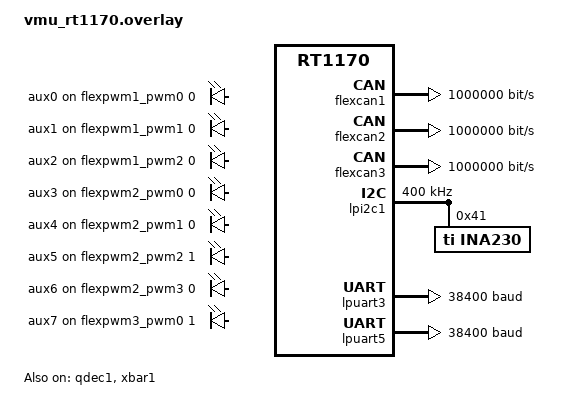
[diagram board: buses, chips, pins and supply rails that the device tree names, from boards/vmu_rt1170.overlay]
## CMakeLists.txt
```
#-------------------------------------------------------------------------------
# Zephyr Cerebri Application
#
# Copyright (c) 2023 CogniPilot Foundation
# SPDX-License-Identifier: Apache-2.0

cmake_minimum_required(VERSION 3.13.1)

find_package(Zephyr REQUIRED HINTS $ENV{ZEPHYR_BASE})

project(elm4 LANGUAGES C)

target_compile_options(app PRIVATE -Wall -Wextra -Werror)

set_source_files_properties(src/casadi/gen/elm4.c PROPERTIES COMPILE_FLAGS -Wno-unused-parameter)

set(SOURCE_FILES
  src/estimate.c
  src/fsm.c
  src/lighting.c
  src/main.c
  src/manual.c
  src/mixing.c
  src/position.c
  src/velocity.c
  src/casadi/gen/elm4.c
  )

target_sources(app PRIVATE ${SOURCE_FILES})
```

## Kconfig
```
# Copyright (c) 2023, CogniPilot Foundation
# SPDX-License-Identifier: Apache-2.0

mainmenu "CogniPilot - Cerebri - ELM4"
source "Kconfig.zephyr"


config CEREBRI_ELM4_BATTERY_MIN_MILLIVOLT
  int "min battery voltage in milli volts before shut off"
  default 32000
  help
    Minimum battery voltage in mV before auto-disarm

config CEREBRI_ELM4_BATTERY_MAX_MILLIVOLT
  int "max battery voltage in milli volts"
  default 43800
  help
    Maximum battery voltage


config CEREBRI_ELM4_GAIN_HEADING
  int "heading gain"
  default 800
  help
    Steering = Heading error * GAIN_/ 1000

config CEREBRI_ELM4_GAIN_CROSS_TRACK
  int "cross track gain"
  default 1000
  help
    Steering = Cross track error * GAIN / 1000

config CEREBRI_ELM4_GAIN_ALONG_TRACK
  int "along track gain"
  default 1000
  help
    Steering = Along track error * GAIN / 1000

config CEREBRI_ELM4_MAX_VELOCITY_MM_S
  int "max velocity, mm/s"
  default 1000
  help
    Max velocity in mm/s

config CEREBRI_ELM4_WHEEL_RADIUS_MM
  int "wheel radius, mm"
  default 108
  help
    Wheel radius in mm

config CEREBRI_ELM4_WHEEL_BASE_MM
  int "wheel base, mm"
  default 667
  help
    Wheel radius in mm

config CEREBRI_ELM4_WHEEL_SEPARATION_MM
  int "wheel separation, mm"
  default 667
  help
    Wheel separation in mm

config CEREBRI_ELM4_MAX_ANGULAR_VELOCITY_MRAD_S
  int "max turn rate, mrad/s"
  default 1000
  help
    Max turn rate mrad/s

module = CEREBRI_ELM4
module-str = cerebri_elm4
source "subsys/logging/Kconfig.template.log_config"
```

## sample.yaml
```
sample:
  description: ELM4
  name: ELM4
common:
  build_only: true
tests:
  elm4.posix:
    tags:
      - elm4
    integration_platforms:
      - native_sim
  elm4.vmu_rt1170/mimxrt1176/cm7:
    tags:
      - elm4
    integration_platforms:
      - vmu_rt1170/mimxrt1176/cm7
```

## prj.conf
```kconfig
CONFIG_CEREBRI_APP_NAME="elm4" CONFIG_CEREBRI_CORE_COMMON=y
CONFIG_CEREBRI_CORE_COMMON_BOOT_BANNER=y
CONFIG_CEREBRI_SENSE_WHEEL_ODOMETRY=n
CONFIG_CEREBRI_SENSE_BARO=y
CONFIG_CEREBRI_SENSE_IMU=y
CONFIG_CEREBRI_SENSE_MAG=y
CONFIG_CEREBRI_SYNAPSE_TOPIC=y
CONFIG_ZROS=y

CONFIG_LOG=y
CONFIG_ASSERT=n
CONFIG_CBPRINTF_FP_SUPPORT=y

CONFIG_ASSERT=n

# modules
CONFIG_SYNAPSE_PROTOBUF=y
CONFIG_SYNAPSE_TINYFRAME=y
CONFIG_NANOPB=y
CONFIG_UBXLIB=y

# Debug
CONFIG_CEREBRI_SENSE_WHEEL_ODOMETRY_LOG_LEVEL_DBG=n
CONFIG_CEREBRI_SENSE_IMU_LOG_LEVEL_DBG=n
CONFIG_CEREBRI_SENSE_SAFETY_LOG_LEVEL_DBG=n

# General config
CONFIG_POSIX_API=y
CONFIG_NEWLIB_LIBC=y
CONFIG_MAIN_THREAD_PRIORITY=5
CONFIG_SYSTEM_WORKQUEUE_PRIORITY=-2
CONFIG_SYS_CLOCK_TICKS_PER_SEC=10000

# Networking config
CONFIG_NET_SHELL=y
CONFIG_NETWORKING=y
CONFIG_NET_IPV4=y
CONFIG_NET_IPV6=n
CONFIG_NET_TCP=y
CONFIG_NET_SOCKETS=y

# Network address config
CONFIG_NET_CONFIG_SETTINGS=y
CONFIG_NET_STATISTICS=y
CONFIG_NET_MGMT_EVENT_INFO=y
CONFIG_NET_MGMT_EVENT_MONITOR=y
CONFIG_NET_BUF_POOL_USAGE=y
CONFIG_NET_DEBUG_NET_PKT_ALLOC=y
CONFIG_NET_CONFIG_NEED_IPV4=y
CONFIG_NET_CONFIG_MY_IPV4_ADDR="192.0.2.1"
CONFIG_NET_CONFIG_PEER_IPV4_ADDR="192.0.2.2"

# STATS
CONFIG_THREAD_RUNTIME_STATS=y
CONFIG_SCHED_THREAD_USAGE=y
CONFIG_SCHED_THREAD_USAGE_ANALYSIS=y
CONFIG_SCHED_THREAD_USAGE_ALL=y
CONFIG_SCHED_THREAD_USAGE_AUTO_ENABLE=y
```

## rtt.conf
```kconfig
../common/rtt.conf
```

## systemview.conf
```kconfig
../common/systemview.conf
```

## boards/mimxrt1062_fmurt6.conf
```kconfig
../../common/boards/mimxrt1062_fmurt6.conf
```

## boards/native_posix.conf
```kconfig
CONFIG_ETH_NATIVE_POSIX=y
CONFIG_TEST_RANDOM_GENERATOR=y
CONFIG_SYS_CLOCK_TICKS_PER_SEC=200
CONFIG_NATIVE_POSIX_SLOWDOWN_TO_REAL_TIME=n

CONFIG_NO_OPTIMIZATIONS=y
CONFIG_NATIVE_UART_0_ON_STDINOUT=y
#CONFIG_NATIVE_UART_AUTOATTACH_DEFAULT_CMD="xterm -fa Monospcae -fs 12 -fg grey -bg black -T cerebri-shell -e screen %s &"

CONFIG_CEREBRI_BOOT_BANNER=n
CONFIG_CEREBRI_DREAM_SIL=y
CONFIG_UBXLIB=n

CONFIG_CEREBRI_ACTUATE_LED_ARRAY=n
CONFIG_CEREBRI_SENSE_IMU=n
CONFIG_CEREBRI_SENSE_BARO=n
CONFIG_CEREBRI_SENSE_MAG=n
CONFIG_CEREBRI_SENSE_UBX_GNSS=n
CONFIG_CEREBRI_SENSE_SAFETY=n
CONFIG_CEREBRI_SENSE_WHEEL_ODOMETRY=n

CONFIG_CEREBRI_DREAM_SIL_LOG_LEVEL_DBG=n
CONFIG_CEREBRI_ESTIMATE_ROVER2D_LOG_LEVEL_DBG=y
CONFIG_CEREBRI_CONTROL_DIFFDRIVE_LOG_LEVEL_DBG=n

CONFIG_NEWLIB_LIBC=n
CONFIG_EXTERNAL_LIBC=y
CONFIG_POSIX_API=n
```

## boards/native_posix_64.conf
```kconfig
CONFIG_ETH_NATIVE_POSIX=y
CONFIG_TEST_RANDOM_GENERATOR=y
CONFIG_SYS_CLOCK_TICKS_PER_SEC=1000
CONFIG_NATIVE_POSIX_SLOWDOWN_TO_REAL_TIME=n

CONFIG_UART_NATIVE_POSIX_PORT_1_ENABLE=n

CONFIG_DREAM_SITL=y
CONFIG_SYNAPSE_ETHERNET=y
CONFIG_SYNAPSE_UART=n

CONFIG_NEWLIB_LIBC=n
CONFIG_EXTERNAL_LIBC=y
CONFIG_POSIX_API=n
```

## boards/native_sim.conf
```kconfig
CONFIG_ETH_NATIVE_POSIX=y
CONFIG_TEST_RANDOM_GENERATOR=y
CONFIG_SYS_CLOCK_TICKS_PER_SEC=200
CONFIG_NATIVE_POSIX_SLOWDOWN_TO_REAL_TIME=n

CONFIG_NO_OPTIMIZATIONS=y
CONFIG_UART_NATIVE_POSIX=y
CONFIG_NATIVE_UART_0_ON_OWN_PTY=y
CONFIG_NATIVE_UART_0_ON_STDINOUT=n
CONFIG_NATIVE_UART_AUTOATTACH_DEFAULT_CMD="xterm -fa Monospcae -fs 12 -fg grey -bg black -T cerebri-shell -e screen %s &"

CONFIG_CEREBRI_BOOT_BANNER=n
CONFIG_CEREBRI_DREAM_SIL=y
CONFIG_UBXLIB=n

CONFIG_CEREBRI_ACTUATE_LED_ARRAY=n
CONFIG_CEREBRI_SENSE_IMU=n
CONFIG_CEREBRI_SENSE_BARO=n
CONFIG_CEREBRI_SENSE_MAG=n
CONFIG_CEREBRI_SENSE_UBX_GNSS=n
CONFIG_CEREBRI_SENSE_SAFETY=n
CONFIG_CEREBRI_SENSE_WHEEL_ODOMETRY=n

CONFIG_CEREBRI_DREAM_SIL_LOG_LEVEL_DBG=n

CONFIG_NEWLIB_LIBC=n
CONFIG_EXTERNAL_LIBC=y
CONFIG_POSIX_API=n
```

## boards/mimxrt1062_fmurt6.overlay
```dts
/* SPDX-License-Identifier: Apache-2.0 */
/* Copyright 2023 CogniPilot Foundation */
/ {
	pwm_shell: pwm_shell {
		compatible = "pwm-leds";
		aux1: aux1 {
			pwms = <&flexpwm2_pwm0 0 PWM_HZ(50) PWM_POLARITY_NORMAL>;
		};
		aux2: aux2 {
			pwms = <&flexpwm2_pwm1 0 PWM_HZ(50) PWM_POLARITY_NORMAL>;
		};
		aux3: aux3 {
			pwms = <&flexpwm2_pwm2 0 PWM_HZ(50) PWM_POLARITY_NORMAL>;
		};
		aux4: aux4 {
			pwms = <&flexpwm2_pwm3 0 PWM_HZ(50) PWM_POLARITY_NORMAL>;
		};
		aux5: aux5 {
			pwms = <&flexpwm3_pwm2 0 PWM_HZ(50) PWM_POLARITY_NORMAL>;
		};
		aux6: aux6 {
			pwms = <&flexpwm3_pwm0 1 PWM_HZ(50) PWM_POLARITY_NORMAL>;
		};
		aux7: aux7 {
			pwms = <&flexpwm4_pwm2 0 PWM_HZ(50) PWM_POLARITY_NORMAL>;
		};
		aux8: aux8 {
			pwms = <&flexpwm4_pwm0 1 PWM_HZ(50) PWM_POLARITY_NORMAL>;
		};
	};
};

&flexpwm2_pwm0 {
	nxp,prescaler = <64>;
};

&flexpwm2_pwm1 {
	nxp,prescaler = <64>;
};

&flexpwm2_pwm2 {
	nxp,prescaler = <64>;
};

&flexpwm2_pwm3 {
	nxp,prescaler = <64>;
};

&flexpwm3_pwm2 {
	nxp,prescaler = <64>;
};

&flexpwm3_pwm0 {
	nxp,prescaler = <64>;
};

&flexpwm4_pwm2 {
	nxp,prescaler = <64>;
};

&flexpwm4_pwm0 {
	nxp,prescaler = <64>;
};

&flexcan3 {
	status = "okay";
	bus-speed = <1000000>;
	bus-speed-data = <4000000>;
};

&flexcan1 {
	status = "disabled";
};

/ { chosen {
		zephyr,canbus = &flexcan3;
	};
};
```

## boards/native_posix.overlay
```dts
../../common/boards/native_posix.overlay
```

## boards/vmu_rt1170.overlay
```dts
/* SPDX-License-Identifier: Apache-2.0 */
/* Copyright 2023 CogniPilot Foundation */
#include <zephyr/dt-bindings/sensor/ina230.h>

/ {
	pwm_shell: pwm_shell {
		compatible = "pwm-leds";
		aux0: aux0 {
			pwms = <&flexpwm1_pwm0 0 PWM_HZ(50) PWM_POLARITY_NORMAL>;
		};
		aux1: aux1 {
			pwms = <&flexpwm1_pwm1 0 PWM_HZ(50) PWM_POLARITY_NORMAL>;
		};
		aux2: aux2 {
			pwms = <&flexpwm1_pwm2 0 PWM_HZ(50) PWM_POLARITY_NORMAL>;
		};
		aux3: aux3 {
			pwms = <&flexpwm2_pwm0 0 PWM_HZ(50) PWM_POLARITY_NORMAL>;
		};
		aux4: aux4 {
			pwms = <&flexpwm2_pwm1 0 PWM_HZ(50) PWM_POLARITY_NORMAL>;
		};
		aux5: aux5 {
			pwms = <&flexpwm2_pwm2 1 PWM_HZ(50) PWM_POLARITY_NORMAL>;
		};
		aux6: aux6 {
			pwms = <&flexpwm2_pwm3 0 PWM_HZ(50) PWM_POLARITY_NORMAL>;
		};
		aux7: aux7 {
			pwms = <&flexpwm3_pwm0 1 PWM_HZ(50) PWM_POLARITY_NORMAL>;
		};
	};

	chosen {
		zephyr,canbus = &flexcan3;
	};

	aliases {
		can0 = &flexcan1;
		can1 = &flexcan2;
		can2 = &flexcan3;
		telem1 = &lpuart8; /* Use telem2 as telem1 */
		/* accelerometers */
		accel0 = &bmi08x_accel;
		accel1 = &icm42688_0;
		accel2 = &icm42688_1;
		/* gyroscopes */
		gyro0 = &icm42688_0;
		gyro1 = &icm42688_1;
		gyro2 = &bmi08x_gyro;
		/* magnetometers */
		mag0 = &ist8310;
		mag1 = &bmm150;
		/* barometric altimeters */
		baro0 = &bmp388_0;
		baro1 = &bmp388_1;
		/* power sensors */
		power0 = &ina230;
		/* wheel odometry */
		wheel-odometry0 = &qdec1;
		/* safety button */
		safety-button = &arming_button;
		status-led = &ncp5623c;
	};
};

&flexpwm1_pwm0 {
	nxp,prescaler = <64>;
};

&flexpwm1_pwm1 {
	nxp,prescaler = <64>;
};

&flexpwm1_pwm2 {
	nxp,prescaler = <64>;
};

&flexpwm2_pwm0 {
	nxp,prescaler = <64>;
};

&flexpwm2_pwm1 {
	nxp,prescaler = <64>;
};

&flexpwm2_pwm2 {
	nxp,prescaler = <64>;
};

&flexpwm2_pwm3 {
	nxp,prescaler = <64>;
};

&flexpwm3_pwm0 {
	nxp,prescaler = <64>;
};

&flexcan1 {
	status = "okay";
	bus-speed = <1000000>;
	bus-speed-data = <4000000>;
};

&flexcan2 {
	status = "okay";
	bus-speed = <1000000>;
	bus-speed-data = <4000000>;
};

&flexcan3 {
	status = "okay";
	bus-speed = <1000000>;
	bus-speed-data = <4000000>;
};

&lpi2c1 {
	status = "okay";
	pinctrl-0 = <&pinmux_lpi2c1>;
	pinctrl-names = "default";
	clock-frequency = <I2C_BITRATE_FAST>;

	ina230: ina230@41 {
		compatible = "ti,ina230";
		reg = <0x41>;
		current-lsb-microamps = <5000>;
		rshunt-micro-ohms = <500>;
	};
};

/* GNSS 1 */
uart0: &lpuart3 {
       status = "okay";
       current-speed = <38400>;
};
/* GNSS 2 */
uart1: &lpuart5 {
       status = "okay";
       current-speed = <38400>;
};

/* QDEC conflicts with the CTS/RTS from LPUART4/TELEM1 */
lpuart4: &lpuart4 {
       status = "disabled";
};

&pinctrl {

	pinmux_qdec1: pinmux_qdec1 {
		group0 {
			pinmux = <&iomuxc_gpio_disp_b1_07_xbar1_xbar_in33>,
				<&iomuxc_gpio_disp_b1_05_xbar1_xbar_in31>;
			drive-strength = "normal";
			slew-rate = "slow";
		};
	};
};

&qdec1 {
	status = "okay";
	pinctrl-0 = <&pinmux_qdec1>;
	pinctrl-names = "default";
	counts-per-revolution = <685>;
	filter-count = <0>;
	xbar = < &xbar1 >;
};

&xbar1 {
	status = "okay";
	xbar-maps = < (33|0x100) (109|0x100) >, /* kXBARA1_InputIomuxXbarIn33 <-> kXBARA1_OutputDec1Phasea */
		    < (31|0x100) (108|0x100) >; /* kXBARA1_InputIomuxXbarIn31 <-> kXBARA1_OutputDec1Phaseb */
};
```

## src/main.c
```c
/*
 * Copyright (c) 2023 CogniPilot Foundation
 * SPDX-License-Identifier: Apache-2.0
 */

#include <stdio.h>

#include <zephyr/kernel.h>
#include <zephyr/logging/log.h>

#include <cerebri/core/common.h>

LOG_MODULE_REGISTER(elm4_main, CONFIG_CEREBRI_ELM4_LOG_LEVEL);

int main(void)
{
#if defined(CONFIG_CEREBRI_CORE_COMMON_BOOT_BANNER)
    printf("%s%s", banner_brain, banner_name);
#endif
    LOG_INF("Cerebri B3RB %d.%d.%d", CONFIG_CEREBRI_VERSION_MAJOR, CONFIG_CEREBRI_VERSION_MINOR, CONFIG_CEREBRI_VERSION_PATCH);
    return 0;
}

// vi: ts=4 sw=4 et
```

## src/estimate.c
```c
/*
 * Copyright CogniPilot Foundation 2023
 * SPDX-License-Identifier: Apache-2.0
 */

#include <math.h>
#include <stdio.h>
#include <time.h>
#include <zephyr/kernel.h>
#include <zephyr/logging/log.h>

#include <zros/private/zros_node_struct.h>
#include <zros/private/zros_pub_struct.h>
#include <zros/private/zros_sub_struct.h>
#include <zros/zros_node.h>
#include <zros/zros_pub.h>
#include <zros/zros_sub.h>

#include <synapse_topic_list.h>

#include <cerebri/core/casadi.h>

#include "casadi/gen/elm4.h"

LOG_MODULE_REGISTER(elm4_estimate, CONFIG_CEREBRI_ELM4_LOG_LEVEL);

#define MY_STACK_SIZE 4096
#define MY_PRIORITY 4

#ifndef M_PI
#define M_PI 3.14159265358979323846
#endif

// private context
typedef struct _context {
    struct zros_node node;
    synapse_msgs_WheelOdometry wheel_odometry;
    synapse_msgs_Imu imu;
    synapse_msgs_Odometry odometry;
    struct zros_sub sub_wheel_odometry, sub_imu;
    struct zros_pub pub_odometry;
    double x[3];
    const double wheel_radius;
} context;

// private initialization
static context g_ctx = {
    .node = {},
    .wheel_odometry = synapse_msgs_WheelOdometry_init_default,
    .imu = synapse_msgs_Imu_init_default,
    .odometry = {
        .child_frame_id = "base_link",
        .has_header = true,
        .header.frame_id = "odom",
        .has_pose = true,
        .pose.has_pose = true,
        .pose.pose.has_position = true,
        .pose.pose.has_orientation = true,
    },
    .sub_wheel_odometry = {},
    .sub_imu = {},
    .pub_odometry = {},
    .x = {},
    .wheel_radius = CONFIG_CEREBRI_ELM4_WHEEL_RADIUS_MM / 1000.0,
};

static void estimate_rover2d_init(context* ctx)
{
    zros_node_init(&ctx->node, "elm4_estimate");
    zros_sub_init(&ctx->sub_imu, &ctx->node, &topic_imu, &ctx->imu, 10);
    zros_sub_init(&ctx->sub_wheel_odometry, &ctx->node, &topic_wheel_odometry,
        &ctx->wheel_odometry, 10);
    zros_pub_init(&ctx->pub_odometry, &ctx->node, &topic_estimator_odometry, &ctx->odometry);
}

static bool all_finite(double* src, size_t n)
{
    for (size_t i = 0; i < n; i++) {
        if (!isfinite(src[i])) {
            return false;
        }
    }
    return true;
}

static void handle_update(context* ctx, double* x1)
{
    bool x1_finite = all_finite(x1, ARRAY_SIZE(ctx->x));

    if (!x1_finite) {
        LOG_WRN("x1 update not finite");
    }

    if (x1_finite) {
        memcpy(ctx->x, x1, sizeof(ctx->x));
    }
}

static void elm4_estimate_entry_point(void* p0, void* p1, void* p2)

{
    context* ctx = p0;
    ARG_UNUSED(p1);
    ARG_UNUSED(p2);

    int rc = 0;

    // LOG_DBG("started");
    estimate_rover2d_init(ctx);

    // variables
    int32_t seq = 0;
    double rotation_last = 0;

    struct k_poll_event events[1] = {};

    // wait for imu
    LOG_DBG("waiting for imu");
    events[0] = *zros_sub_get_event(&ctx->sub_imu);
    rc = k_poll(events, ARRAY_SIZE(events), K_FOREVER);
    if (rc != 0) {
        LOG_DBG("did not receive imu");
        return;
    }
    if (zros_sub_update_available(&ctx->sub_imu)) {
        zros_sub_update(&ctx->sub_imu);
    }

    // wait for wheel odometry
    LOG_DBG("waiting for wheel odometry");
    events[0] = *zros_sub_get_event(&ctx->sub_wheel_odometry);
    rc = k_poll(events, ARRAY_SIZE(events), K_FOREVER);
    if (rc != 0) {
        LOG_DBG("did not receive wheel odometry");
        return;
    }
    if (zros_sub_update_available(&ctx->sub_wheel_odometry)) {
        zros_sub_update(&ctx->sub_wheel_odometry);
    }

    double dt = 0;
    int64_t ticks_last = k_uptime_ticks();

    // poll on imu
    events[0] = *zros_sub_get_event(&ctx->sub_imu);

    // estimator state
    while (true) {

        // poll for imu
        rc = k_poll(events, ARRAY_SIZE(events), K_MSEC(1000));
        if (rc != 0) {
            LOG_DBG("not receiving imu");
            continue;
        }

        if (zros_sub_update_available(&ctx->sub_imu)) {
            zros_sub_update(&ctx->sub_imu);
        }

        if (zros_sub_update_available(&ctx->sub_wheel_odometry)) {
            zros_sub_update(&ctx->sub_wheel_odometry);
        }

        // calculate dt
        int64_t ticks_now = k_uptime_ticks();
        dt = (float)(ticks_now - ticks_last) / CONFIG_SYS_CLOCK_TICKS_PER_SEC;
        ticks_last = ticks_now;
        if (dt < 0 || dt > 0.5) {
            LOG_WRN("imu update rate too low");
            continue;
        }

        // get data
        double rotation = ctx->wheel_odometry.rotation;

        // negative sign due to current gearing, should be in driver
        double u = (rotation - rotation_last) * ctx->wheel_radius;
        rotation_last = rotation;

        double omega = ctx->imu.angular_velocity.z;
        // LOG_DBG("imu omega z: %10.4f", omega);

        /* predict:(x0[3],omega,u)->(x1[3]) */
        {
            double delta_theta = omega * dt;
            double x1[3];

            // LOG_DBG("predict");
            CASADI_FUNC_ARGS(predict);
            args[0] = ctx->x;
            args[1] = &delta_theta;
            args[2] = &u;
            res[0] = x1;
            CASADI_FUNC_CALL(predict);

            // update x, W
            handle_update(ctx, x1);
        }

        // publish odometry
        {
            stamp_header(&ctx->odometry.header, k_uptime_ticks());
            ctx->odometry.header.seq = seq++;

            double theta = ctx->x[2];
            ctx->odometry.pose.pose.position.x = ctx->x[0];
            ctx->odometry.pose.pose.position.y = ctx->x[1];
            ctx->odometry.pose.pose.position.z = 0;
            ctx->odometry.pose.pose.orientation.x = 0;
            ctx->odometry.pose.pose.orientation.y = 0;
            ctx->odometry.pose.pose.orientation.z = sin(theta / 2);
            ctx->odometry.pose.pose.orientation.w = cos(theta / 2);
            ctx->odometry.twist.twist.angular.z = omega;
            ctx->odometry.twist.twist.linear.x = u;
            zros_pub_update(&ctx->pub_odometry);
        }
    }
}

K_THREAD_DEFINE(elm4_estimate, MY_STACK_SIZE, elm4_estimate_entry_point,
    &g_ctx, NULL, NULL, MY_PRIORITY, 0, 0);

/* vi: ts=4 sw=4 et */
```

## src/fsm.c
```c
/*
 * Copyright CogniPilot Foundation 2023
 * SPDX-License-Identifier: Apache-2.0
 */

#include <stdio.h>
#include <zephyr/kernel.h>
#include <zephyr/logging/log.h>

#include <zros/private/zros_node_struct.h>
#include <zros/private/zros_pub_struct.h>
#include <zros/private/zros_sub_struct.h>
#include <zros/zros_node.h>
#include <zros/zros_pub.h>
#include <zros/zros_sub.h>

#include <synapse_topic_list.h>

#define MY_STACK_SIZE 3072
#define MY_PRIORITY 4
#define STATE_ANY -1

LOG_MODULE_REGISTER(elm4_fsm, CONFIG_CEREBRI_ELM4_LOG_LEVEL);

void transition(
    void* state,
    bool request,
    const char* request_name,
    int pre,
    uint8_t post,
    char* buf,
    size_t n,
    size_t n_guards,
    ...)
{
    int* state_int = (int*)state;

    // not requested
    if (!request) {
        return;
    }

    // null transition
    if (pre == post) {
        LOG_DBG("null transition");
        return;
    }

    // pre state required and not matched
    if (pre >= 0 && *state_int != pre) {
        LOG_DBG("pre-state not matched");
        return;
    }

    va_list ap;
    va_start(ap, n_guards);
    for (size_t i = 0; i < n_guards; i++) {
        int guard = va_arg(ap, int);
        const char* guard_txt = va_arg(ap, const char*);
        if (guard) {
            snprintf(buf, n, "deny: %s %s", request_name, guard_txt);
            LOG_WRN("%s", buf);
            return;
        }
    }
    va_end(ap);
    snprintf(buf, n, "allow: %s", request_name);
    LOG_INF("%s", buf);
    *state_int = post;
}

typedef struct status_input_s {
    bool request_arm;
    bool request_disarm;
    bool request_manual;
    bool request_auto;
    bool request_cmd_vel;
    bool request_calibration;
    bool safe;
    bool mode_set;
    bool fuel_low;
    bool fuel_critical;
} status_input_t;

typedef struct _context {
    struct zros_node node;
    synapse_msgs_Joy joy;
    synapse_msgs_BatteryState battery_state;
    synapse_msgs_Safety safety;
    synapse_msgs_Status status;
    status_input_t status_input;
    struct zros_sub sub_joy, sub_battery_state, sub_safety;
    struct zros_pub pub_status;
} context;

static context g_ctx = {
    .node = {},
    .joy = synapse_msgs_Joy_init_default,
    .battery_state = synapse_msgs_BatteryState_init_default,
    .safety = synapse_msgs_Safety_init_default,
    .status = {
        .has_header = true,
        .header = {
            .frame_id = "base_link",
            .has_stamp = true,
            .seq = 0,
            .stamp = synapse_msgs_Time_init_default,
        },
        .arming = synapse_msgs_Status_Arming_ARMING_DISARMED,
        .fuel = synapse_msgs_Status_Fuel_FUEL_UNKNOWN,
        .fuel_percentage = 0,
        .joy = synapse_msgs_Status_Joy_JOY_UNKNOWN,
        .mode = synapse_msgs_Status_Mode_MODE_UNKNOWN,
        .power = 0.0,
        .safety = synapse_msgs_Status_Safety_SAFETY_UNKNOWN,
        .status_message = "" },
    .sub_joy = {},
    .sub_battery_state = {},
    .sub_safety = {},
    .pub_status = {},
};

static void elm4_fsm_init(context* ctx)
{
    zros_node_init(&ctx->node, "elm4_fsm");
    zros_sub_init(&ctx->sub_joy, &ctx->node, &topic_joy, &ctx->joy, 10);
    zros_sub_init(&ctx->sub_battery_state, &ctx->node,
        &topic_battery_state, &ctx->battery_state, 10);
    zros_sub_init(&ctx->sub_safety, &ctx->node, &topic_safety, &ctx->safety, 10);
    zros_pub_init(&ctx->pub_status, &ctx->node, &topic_status, &ctx->status);
}

static void fsm_compute_input(status_input_t* input, const context* ctx)
{
    input->request_arm = ctx->joy.buttons[JOY_BUTTON_ARM] == 1;
    input->request_disarm = ctx->joy.buttons[JOY_BUTTON_DISARM] == 1;
    input->request_manual = ctx->joy.buttons[JOY_BUTTON_MANUAL] == 1;
    input->request_auto = ctx->joy.buttons[JOY_BUTTON_AUTO] == 1;
    input->request_cmd_vel = ctx->joy.buttons[JOY_BUTTON_CMD_VEL] == 1;
    input->request_calibration = ctx->joy.buttons[JOY_BUTTON_CALIBRATION] == 1;
    input->mode_set = ctx->status.mode != synapse_msgs_Status_Mode_MODE_UNKNOWN;
#ifdef CONFIG_CEREBRI_SENSE_SAFETY
    input->safe = ctx->safety.status == synapse_msgs_Safety_Status_SAFETY_SAFE || ctx->safety.status == synapse_msgs_Safety_Status_SAFETY_UNKNOWN;
#else
    input->safe = false;
#endif
    input->fuel_critical = ctx->battery_state.voltage < CONFIG_CEREBRI_ELM4_BATTERY_MIN_MILLIVOLT / 1000.0;
}

static void fsm_update(synapse_msgs_Status* status, const status_input_t* input)
{
    // arm transition
    transition(
        &status->arming, // state
        input->request_arm, // request
        "request arm", // label
        synapse_msgs_Status_Arming_ARMING_DISARMED, // pre
        synapse_msgs_Status_Arming_ARMING_ARMED, // post
        status->status_message, sizeof(status->status_message), // status
        // guards
        3,
        status->mode == synapse_msgs_Status_Mode_MODE_UNKNOWN, "mode not set",
        input->safe, "safety on",
        input->fuel_critical, "fuel_critical");

    // disarm transitions
    transition(
        &status->arming, // state
        input->request_disarm, // request
        "request disarm", // label
        synapse_msgs_Status_Arming_ARMING_ARMED, // pre
        synapse_msgs_Status_Arming_ARMING_DISARMED, // post
        status->status_message, sizeof(status->status_message), 0); // status

    // disarm transitions
    transition(
        &status->arming, // state
        input->fuel_critical, // request
        "disarm fuel critical", // label
        synapse_msgs_Status_Arming_ARMING_ARMED, // pre
        synapse_msgs_Status_Arming_ARMING_DISARMED, // post
        status->status_message, sizeof(status->status_message), 0); // status

    transition(
        &status->arming, // state
        input->safe, // request
        "disarm safety engaged", // label
        synapse_msgs_Status_Arming_ARMING_ARMED, // pre
        synapse_msgs_Status_Arming_ARMING_DISARMED, // post
        status->status_message, sizeof(status->status_message), 0); // status

    // mode transitions
    transition(
        &status->mode, // state
        input->request_manual, // request
        "request mode manual", // label
        STATE_ANY, // pre
        synapse_msgs_Status_Mode_MODE_MANUAL, // post
        status->status_message, sizeof(status->status_message), 0); // status
                                                                    //
    transition(
        &status->mode, // state
        input->request_auto || input->request_cmd_vel, // request
        "request mode cmd_vel", // label
        STATE_ANY, // pre
        synapse_msgs_Status_Mode_MODE_CMD_VEL, // post
        status->status_message, sizeof(status->status_message), 0); // status

    transition(
        &status->mode, // state
        input->request_calibration, // request
        "request mode calibration", // label
        STATE_ANY, // pre
        synapse_msgs_Status_Mode_MODE_CALIBRATION, // post
        status->status_message, sizeof(status->status_message), 0); // status

    // set timestamp
    stamp_header(&status->header, k_uptime_ticks());
    status->header.seq++;
}

static void status_add_extra_info(synapse_msgs_Status* status, status_input_t* input, const context* ctx)
{
    if (input->fuel_critical) {
        status->fuel = synapse_msgs_Status_Fuel_FUEL_CRITICAL;
    } else if (input->fuel_low) {
        status->fuel = synapse_msgs_Status_Fuel_FUEL_LOW;
    } else {
        status->fuel = synapse_msgs_Status_Fuel_FUEL_NOMINAL;
    }
    double bat_max = CONFIG_CEREBRI_ELM4_BATTERY_MAX_MILLIVOLT / 1000.0;
    double bat_min = CONFIG_CEREBRI_ELM4_BATTERY_MIN_MILLIVOLT / 1000.0;
    status->fuel_percentage = 100 * (ctx->battery_state.voltage - bat_min) / (bat_max - bat_min);
    status->power = ctx->battery_state.voltage * ctx->battery_state.current;
#ifdef CONFIG_CEREBRI_SENSE_SAFETY
    if (ctx->safety.status == synapse_msgs_Safety_Status_SAFETY_SAFE) {
        status->safety = synapse_msgs_Status_Safety_SAFETY_SAFE;
    } else if (ctx->safety.status == synapse_msgs_Safety_Status_SAFETY_UNSAFE) {
        status->safety = synapse_msgs_Status_Safety_SAFETY_UNSAFE;
    } else if (ctx->safety.status == synapse_msgs_Safety_Status_SAFETY_UNKNOWN) {
        status->safety = synapse_msgs_Status_Safety_SAFETY_UNKNOWN;
    }
#else
    status->safety = synapse_msgs_Status_Safety_SAFETY_UNSAFE;
#endif
}

static void elm4_fsm_run(void* p0, void* p1, void* p2)
{
    context* ctx = p0;
    ARG_UNUSED(p1);
    ARG_UNUSED(p2);

    elm4_fsm_init(ctx);

    struct k_poll_event events[] = {
        *zros_sub_get_event(&ctx->sub_joy),
    };

    while (true) {

        // wait for joystick input event, publish at 1 Hz regardless
        int rc = 0;
        rc = k_poll(events, ARRAY_SIZE(events), K_MSEC(1000));
        if (rc != 0) {
            LOG_DBG("status not receiving joy");
            ctx->status.joy = synapse_msgs_Status_Joy_JOY_LOSS;
        } else {
            ctx->status.joy = synapse_msgs_Status_Joy_JOY_NOMINAL;
        }

        if (zros_sub_update_available(&ctx->sub_battery_state)) {
            zros_sub_update(&ctx->sub_battery_state);
        }

        if (zros_sub_update_available(&ctx->sub_safety)) {
            zros_sub_update(&ctx->sub_safety);
        }

        if (zros_sub_update_available(&ctx->sub_joy)) {
            zros_sub_update(&ctx->sub_joy);
        }

        // perform processing
        fsm_compute_input(&ctx->status_input, ctx);
        fsm_update(&ctx->status, &ctx->status_input);
        status_add_extra_info(&ctx->status, &ctx->status_input, ctx);
        zros_pub_update(&ctx->pub_status);
    }
}

K_THREAD_DEFINE(elm4_fsm, MY_STACK_SIZE,
    elm4_fsm_run, &g_ctx, NULL, NULL,
    MY_PRIORITY, 0, 0);

/* vi: ts=4 sw=4 et */
```

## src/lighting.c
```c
/*
 * Copyright CogniPilot Foundation 2023
 * SPDX-License-Identifier: Apache-2.0
 */

#include <math.h>

#include <zephyr/kernel.h>
#include <zephyr/logging/log.h>

#include <zros/private/zros_node_struct.h>
#include <zros/private/zros_pub_struct.h>
#include <zros/private/zros_sub_struct.h>
#include <zros/zros_node.h>
#include <zros/zros_pub.h>
#include <zros/zros_sub.h>

#include <synapse_topic_list.h>

#define MY_STACK_SIZE 2048
#define MY_PRIORITY 4

LOG_MODULE_REGISTER(elm4_lighting, CONFIG_CEREBRI_ELM4_LOG_LEVEL);

extern struct k_work_q g_low_priority_work_q;
static void lighting_work_handler(struct k_work* work);
static void lighting_timer_handler(struct k_timer* dummy);

typedef struct context_ {
    // work
    struct k_work work_item;
    struct k_timer timer;
    // node
    struct zros_node node;
    // data
    synapse_msgs_BatteryState battery_state;
    synapse_msgs_Safety safety;
    synapse_msgs_Status status;
    synapse_msgs_LEDArray led_array;
    synapse_msgs_Joy joy;
    // subscriptions
    struct zros_sub sub_battery_state, sub_safety, sub_status, sub_joy;
    // publications
    struct zros_pub pub_led_array;
    bool lights_on;
} context_t;

static context_t g_ctx = {
    .work_item = Z_WORK_INITIALIZER(lighting_work_handler),
    .timer = Z_TIMER_INITIALIZER(g_ctx.timer, lighting_timer_handler, NULL),
    .battery_state = synapse_msgs_BatteryState_init_default,
    .safety = synapse_msgs_Safety_init_default,
    .status = synapse_msgs_Status_init_default,
    .led_array = synapse_msgs_LEDArray_init_default,
    .sub_safety = {},
    .sub_status = {},
    .sub_joy = {},
    .pub_led_array = {},
    .node = {},
    .lights_on = false,
};

static void lighting_init(context_t* ctx)
{
    zros_node_init(&ctx->node, "elm4_lighting");
    zros_sub_init(&ctx->sub_battery_state, &ctx->node, &topic_battery_state, &ctx->battery_state, 10);
    zros_sub_init(&ctx->sub_safety, &ctx->node, &topic_safety, &ctx->safety, 10);
    zros_sub_init(&ctx->sub_status, &ctx->node, &topic_status, &ctx->status, 10);
    zros_sub_init(&ctx->sub_joy, &ctx->node, &topic_joy, &ctx->joy, 10);
    zros_pub_init(&ctx->pub_led_array, &ctx->node, &topic_led_array, &ctx->led_array);
}

static void set_led(const int index, const double* color, const double brightness, synapse_msgs_LED* led)
{
    led->index = index;
    led->r = brightness * color[0];
    led->g = brightness * color[1];
    led->b = brightness * color[2];
}

static void lighting_work_handler(struct k_work* work)
{
    context_t* ctx = CONTAINER_OF(work, context_t, work_item);

    // update subscriptions
    zros_sub_update(&ctx->sub_status);
    zros_sub_update(&ctx->sub_joy);
    zros_sub_update(&ctx->sub_safety);
    zros_sub_update(&ctx->sub_battery_state);

    double t = (double)k_uptime_ticks() / CONFIG_SYS_CLOCK_TICKS_PER_SEC;
    const double led_pulse_freq = 0.25;
    const double brightness_min = 4;
    const double brightness_max = 30;
    const double brightness_amplitude = (brightness_max - brightness_min) / 2;
    const double brightness_mean = (brightness_max + brightness_min) / 2;

    int brightness = brightness_mean + brightness_amplitude * sin(2 * 3.14159 * led_pulse_freq * t);
    int led_msg_index = 0;

    const int mode_leds[] = { 2, 3 };
    const double color_auto[] = { 1, 0, 0 };
    const double color_manual[] = { 0, 1, 0 };
    const double color_cmd_vel[] = { 0, 0, 1 };
    const double color_unknown[] = { 0.33, 0.33, 0.33 };

    const int arm_leds[] = { 1, 4 };
    const double color_armed[] = { 1, 0, 0 };
    const double color_disarmed[] = { 0, 1, 0 };

    const int safety_leds[] = { 0, 5 };
    const double color_unsafe[] = { 1, 0, 0 };
    const double color_safe[] = { 0, 1, 0 };
    const double color_battery_critical[] = { 1, 0.65, 0 };
    const double color_calibration[] = { 1, 1, 0 };

    const int headlight_leds[] = { 6, 7, 8, 9, 10, 11 };
    const double color_white[] = { 1, 1, 1 };

    bool battery_critical = ctx->battery_state.voltage < CONFIG_CEREBRI_ELM4_BATTERY_MIN_MILLIVOLT / 1000.0;

    // mode leds
    for (size_t i = 0; i < ARRAY_SIZE(mode_leds); i++) {
        const double* color = NULL;
        if (ctx->status.mode == synapse_msgs_Status_Mode_MODE_MANUAL) {
            color = color_manual;
        } else if (ctx->status.mode == synapse_msgs_Status_Mode_MODE_CMD_VEL) {
            color = color_cmd_vel;
        } else if (ctx->status.mode == synapse_msgs_Status_Mode_MODE_AUTO) {
            color = color_auto;
        } else if (ctx->status.mode == synapse_msgs_Status_Mode_MODE_CALIBRATION) {
            color = color_calibration;
        } else {
            color = color_unknown;
        }
        set_led(mode_leds[i], color, brightness, &ctx->led_array.led[led_msg_index]);
        led_msg_index++;
    }

    // arm leds
    for (size_t i = 0; i < ARRAY_SIZE(arm_leds); i++) {
        const double* color = NULL;
        if (battery_critical) {
            color = color_battery_critical;
        } else {
            if (ctx->status.arming == synapse_msgs_Status_Arming_ARMING_DISARMED) {
                color = color_disarmed;
            } else if (ctx->status.arming == synapse_msgs_Status_Arming_ARMING_ARMED) {
                color = color_armed;
            } else {
                color = color_unknown;
            }
        }
        set_led(arm_leds[i], color, brightness, &ctx->led_array.led[led_msg_index]);
        led_msg_index++;
    }

    // safety leds
    for (size_t i = 0; i < ARRAY_SIZE(safety_leds); i++) {
        const double* color = NULL;
        if (ctx->safety.status == synapse_msgs_Safety_Status_SAFETY_SAFE) {
            color = color_safe;
        } else if (ctx->safety.status == synapse_msgs_Safety_Status_SAFETY_UNSAFE) {
            color = color_unsafe;
        } else {
            color = color_unknown;
        }
        set_led(safety_leds[i], color, brightness, &ctx->led_array.led[led_msg_index]);
        led_msg_index++;
    }

    // headlight leds
    bool lights_on_requested = ctx->joy.buttons[JOY_BUTTON_LIGHTS_ON] == 1;
    bool lights_off_requested = ctx->joy.buttons[JOY_BUTTON_LIGHTS_OFF] == 1;

    if (lights_on_requested) {
        ctx->lights_on = true;
    } else if (lights_off_requested) {
        ctx->lights_on = false;
    }

    if (ctx->lights_on) {
        for (size_t i = 0; i < ARRAY_SIZE(headlight_leds); i++) {
            set_led(headlight_leds[i], color_white, 255, &ctx->led_array.led[led_msg_index]);
            led_msg_index++;
        }
    } else if (!ctx->lights_on) {
        for (size_t i = 0; i < ARRAY_SIZE(headlight_leds); i++) {
            set_led(headlight_leds[i], color_white, 0, &ctx->led_array.led[led_msg_index]);
            led_msg_index++;
        }
    }

    // set timestamp
    stamp_header(&ctx->led_array.header, k_uptime_ticks());
    ctx->led_array.header.seq++;
    ctx->led_array.led_count = led_msg_index;

    zros_pub_update(&ctx->pub_led_array);
}

static void lighting_timer_handler(struct k_timer* timer)
{
    context_t* ctx = CONTAINER_OF(timer, context_t, timer);
    k_work_submit_to_queue(&g_low_priority_work_q, &ctx->work_item);
}

static void lighting_entry_point(void* p0, void* p1, void* p2)
{
    context_t* ctx = p0;
    ARG_UNUSED(p1);
    ARG_UNUSED(p2);

    lighting_init(ctx);
    LOG_INF("initializing lighting");
    k_timer_start(&ctx->timer, K_MSEC(33), K_MSEC(33));
}

K_THREAD_DEFINE(elm4_lighting, MY_STACK_SIZE,
    lighting_entry_point, &g_ctx, NULL, NULL,
    MY_PRIORITY, 0, 0);

/* vi: ts=4 sw=4 et */
```

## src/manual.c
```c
/*
 * Copyright CogniPilot Foundation 2023
 * SPDX-License-Identifier: Apache-2.0
 */

#include <zephyr/kernel.h>
#include <zephyr/logging/log.h>

#include <zros/private/zros_node_struct.h>
#include <zros/private/zros_pub_struct.h>
#include <zros/private/zros_sub_struct.h>
#include <zros/zros_node.h>
#include <zros/zros_pub.h>
#include <zros/zros_sub.h>

#include <synapse_topic_list.h>

#include "mixing.h"

#define MY_STACK_SIZE 1024
#define MY_PRIORITY 4

LOG_MODULE_REGISTER(elm4_manual, CONFIG_CEREBRI_ELM4_LOG_LEVEL);

typedef struct _context {
    struct zros_node node;
    synapse_msgs_Joy joy;
    synapse_msgs_Actuators actuators_manual;
    struct zros_sub sub_joy;
    struct zros_pub pub_actuators_manual;
    const double wheel_radius;
    const double max_angular_velocity;
    const double max_velocity;
} context;

static context g_ctx = {
    .node = {},
    .joy = synapse_msgs_Joy_init_default,
    .actuators_manual = synapse_msgs_Actuators_init_default,
    .sub_joy = {},
    .pub_actuators_manual = {},
    .wheel_radius = CONFIG_CEREBRI_ELM4_WHEEL_RADIUS_MM / 1000.0,
    .max_angular_velocity = CONFIG_CEREBRI_ELM4_MAX_ANGULAR_VELOCITY_MRAD_S / 1000.0,
    .max_velocity = CONFIG_CEREBRI_ELM4_MAX_VELOCITY_MM_S / 1000.0,
};

static void init(context* ctx)
{
    zros_node_init(&ctx->node, "elm4_manual");
    zros_sub_init(&ctx->sub_joy, &ctx->node, &topic_joy, &ctx->joy, 10);
    zros_pub_init(&ctx->pub_actuators_manual, &ctx->node,
        &topic_actuators_manual, &ctx->actuators_manual);
}

static void elm4_manual_entry_point(void* p0, void* p1, void* p2)
{
    context* ctx = p0;
    ARG_UNUSED(p1);
    ARG_UNUSED(p2);

    init(ctx);

    struct k_poll_event events[] = {
        *zros_sub_get_event(&ctx->sub_joy),
    };

    while (true) {
        // wait for joystick input event, publish at 1 Hz regardless
        int rc = 0;
        rc = k_poll(events, ARRAY_SIZE(events), K_MSEC(1000));
        if (rc != 0) {
            LOG_DBG("fsm not receiving joy");
        }

        if (zros_sub_update_available(&ctx->sub_joy)) {
            zros_sub_update(&ctx->sub_joy);
        }

        // compute turn_angle, and angular velocity from joystick
        double omega_turn = ctx->max_angular_velocity * (double)ctx->joy.axes[JOY_AXES_ROLL];
        double omega_fwd = ctx->max_velocity * (double)ctx->joy.axes[JOY_AXES_THRUST] / ctx->wheel_radius;
        elm4_set_actuators(&ctx->actuators_manual, omega_fwd, omega_turn);

        zros_pub_update(&ctx->pub_actuators_manual);
    }
}

K_THREAD_DEFINE(elm4_manual, MY_STACK_SIZE,
    elm4_manual_entry_point, &g_ctx, NULL, NULL,
    MY_PRIORITY, 0, 0);

/* vi: ts=4 sw=4 et */
```

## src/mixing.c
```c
/*
 * Copyright CogniPilot Foundation 2023
 * SPDX-License-Identifier: Apache-2.0
 */

#include <synapse_topic_list.h>

void elm4_set_actuators(synapse_msgs_Actuators* msg, double omega_fwd, double omega_turn)
{
    msg->has_header = true;
    stamp_header(&msg->header, k_uptime_ticks());
    msg->header.seq++;
    strncpy(msg->header.frame_id, "odom", sizeof(msg->header.frame_id) - 1);

    msg->velocity_count = 4;
    msg->velocity[0] = omega_fwd + omega_turn;
    msg->velocity[1] = omega_fwd - omega_turn;
    msg->velocity[2] = omega_fwd - omega_turn;
    msg->velocity[3] = omega_fwd + omega_turn;
}

/* vi: ts=4 sw=4 et */
```

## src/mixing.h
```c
/*
 * Copyright CogniPilot Foundation 2023
 * SPDX-License-Identifier: Apache-2.0
 */

#ifndef CONTROL_DIFFDRIVE_MIXING_H_
#define CONTROL_DIFFDRIVE_MIXING_H_

#include <synapse_topic_list.h>

void elm4_set_actuators(synapse_msgs_Actuators* msg, double omega_fwd, double omega_turn);

#endif // CONTROL_DIFFDRIVE_MIXING_H_
/* vi: ts=4 sw=4 et */
```

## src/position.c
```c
/*
 * Copyright CogniPilot Foundation 2023
 * SPDX-License-Identifier: Apache-2.0
 */

#include <math.h>

#include <zros/private/zros_node_struct.h>
#include <zros/private/zros_pub_struct.h>
#include <zros/private/zros_sub_struct.h>
#include <zros/zros_node.h>
#include <zros/zros_pub.h>
#include <zros/zros_sub.h>

#include <synapse_topic_list.h>

#include <zephyr/logging/log.h>

#include "casadi/gen/elm4.h"

#include <cerebri/core/casadi.h>

#define MY_STACK_SIZE 3072
#define MY_PRIORITY 4

LOG_MODULE_REGISTER(elm4_position, CONFIG_CEREBRI_ELM4_LOG_LEVEL);

typedef struct _context {
    struct zros_node node;
    synapse_msgs_Status status;
    synapse_msgs_BezierTrajectory bezier_trajectory;
    synapse_msgs_Time clock_offset;
    synapse_msgs_Odometry pose;
    synapse_msgs_Twist cmd_vel;
    struct zros_sub sub_status, sub_clock_offset, sub_pose, sub_bezier_trajectory;
    struct zros_pub pub_cmd_vel;
    const double wheel_base;
    const double gain_along_track;
    const double gain_cross_track;
    const double gain_heading;
} context;

static context g_ctx = {
    .status = synapse_msgs_Status_init_default,
    .bezier_trajectory = synapse_msgs_BezierTrajectory_init_default,
    .clock_offset = synapse_msgs_Time_init_default,
    .pose = synapse_msgs_Odometry_init_default,
    .cmd_vel = {
        .has_angular = true,
        .has_linear = true,
        .linear = synapse_msgs_Vector3_init_default,
        .angular = synapse_msgs_Vector3_init_default,
    },
    .sub_status = {},
    .sub_clock_offset = {},
    .sub_pose = {},
    .sub_bezier_trajectory = {},
    .pub_cmd_vel = {},
    .wheel_base = CONFIG_CEREBRI_ELM4_WHEEL_BASE_MM / 1000.0,
    .gain_along_track = CONFIG_CEREBRI_ELM4_GAIN_ALONG_TRACK / 1000.0,
    .gain_cross_track = CONFIG_CEREBRI_ELM4_GAIN_CROSS_TRACK / 1000.0,
    .gain_heading = CONFIG_CEREBRI_ELM4_GAIN_HEADING / 1000.0,
};

static void init(context* ctx)
{
    zros_node_init(&ctx->node, "elm4_position");
    zros_sub_init(&ctx->sub_status, &ctx->node, &topic_status, &ctx->status, 10);
    zros_sub_init(&ctx->sub_clock_offset, &ctx->node, &topic_clock_offset, &ctx->clock_offset, 10);
    zros_sub_init(&ctx->sub_pose, &ctx->node, &topic_estimator_odometry, &ctx->pose, 10);
    zros_sub_init(&ctx->sub_bezier_trajectory, &ctx->node, &topic_bezier_trajectory, &ctx->bezier_trajectory, 10);
    zros_pub_init(&ctx->pub_cmd_vel, &ctx->node, &topic_cmd_vel, &ctx->cmd_vel);
}

static void stop(context* ctx)
{
    ctx->cmd_vel.linear.x = 0;
    ctx->cmd_vel.angular.z = 0;
}

// computes thrust/steering in auto mode
static void auto_mode(context* ctx)
{
    // goal -> given position goal, find cmd_vel
    uint64_t time_start_nsec = ctx->bezier_trajectory.time_start;
    uint64_t time_stop_nsec = time_start_nsec;

    // get current time
    uint64_t time_nsec = k_uptime_get() * 1e6 + ctx->clock_offset.sec * 1e9 + ctx->clock_offset.nanosec;

    if (time_nsec < time_start_nsec) {
        LOG_DBG("time current: %" PRIu64
                " ns < time start: %" PRIu64
                "  ns, time out of range of trajectory\n",
            time_nsec, time_start_nsec);
        stop(ctx);
        return;
    }

    // find current trajectory index, time_start, and time_stop
    int curve_index = 0;
    while (true) {

        // check if time handled by current trajectory
        if (time_nsec < ctx->bezier_trajectory.curves[curve_index].time_stop) {
            time_stop_nsec = ctx->bezier_trajectory.curves[curve_index].time_stop;
            if (curve_index > 0) {
                time_start_nsec = ctx->bezier_trajectory.curves[curve_index - 1].time_stop;
            }
            break;
        }

        // next index
        curve_index++;

        // check if index exceeds bounds
        if (curve_index >= ctx->bezier_trajectory.curves_count) {
            // LOG_ERR("curve index exceeds bounds");
            stop(ctx);
            return;
        }
    }

    double T = (time_stop_nsec - time_start_nsec) * 1e-9;
    double t = (time_nsec - time_start_nsec) * 1e-9;
    double x, y, psi, V, omega = 0;
    double e[3] = {}; // e_x, e_y, e_theta

    double PX[6], PY[6];
    for (int i = 0; i < 6; i++) {
        PX[i] = ctx->bezier_trajectory.curves[curve_index].x[i];
        PY[i] = ctx->bezier_trajectory.curves[curve_index].y[i];
    }

    /* bezier6_rover:(t,T,PX[1x6],PY[1x6],L)->(x,y,psi,V,omega) */
    {
        CASADI_FUNC_ARGS(bezier6_rover);
        args[0] = &t;
        args[1] = &T;
        args[2] = PX;
        args[3] = PY;
        res[0] = &x;
        res[1] = &y;
        res[2] = &psi;
        res[3] = &V;
        res[4] = &omega;
        CASADI_FUNC_CALL(bezier6_rover);
    }

    /* se2_error:(p[3],r[3])->(error[3]) */
    {
        double p[3], r[3];

        // vehicle position
        p[0] = ctx->pose.pose.pose.position.x;
        p[1] = ctx->pose.pose.pose.position.y;
        p[2] = 2 * atan2(ctx->pose.pose.pose.orientation.z, ctx->pose.pose.pose.orientation.w);

        // reference position
        r[0] = x;
        r[1] = y;
        r[2] = psi;

        // call function
        CASADI_FUNC_ARGS(se2_error);
        args[0] = p;
        args[1] = r;
        res[0] = e;
        CASADI_FUNC_CALL(se2_error);
    }

    // compute twist
    ctx->cmd_vel.linear.x = V + ctx->gain_along_track * e[0];
    ctx->cmd_vel.angular.z = omega + ctx->gain_cross_track * e[1] + ctx->gain_heading * e[2];
}

static void elm4_position_entry_point(void* p0, void* p1, void* p2)
{
    context* ctx = p0;
    ARG_UNUSED(p1);
    ARG_UNUSED(p2);

    init(ctx);

    struct k_poll_event events[] = {
        *zros_sub_get_event(&ctx->sub_pose),
    };

    while (true) {

        // LOG_DBG("polling on pose");
        int rc = 0;
        rc = k_poll(events, ARRAY_SIZE(events), K_MSEC(1000));
        if (rc != 0) {
            LOG_DBG("pos not receiving  pose");
            continue;
        }

        if (zros_sub_update_available(&ctx->sub_bezier_trajectory)) {
            zros_sub_update(&ctx->sub_bezier_trajectory);
        }

        if (zros_sub_update_available(&ctx->sub_status)) {
            zros_sub_update(&ctx->sub_status);
        }

        if (zros_sub_update_available(&ctx->sub_pose)) {
            zros_sub_update(&ctx->sub_pose);
        }

        if (zros_sub_update_available(&ctx->sub_clock_offset)) {
            zros_sub_update(&ctx->sub_clock_offset);
        }

        if (ctx->status.mode != synapse_msgs_Status_Mode_MODE_AUTO) {
            // LOG_DBG("not auto mode");
            continue;
        }

        auto_mode(ctx);
        zros_pub_update(&ctx->pub_cmd_vel);
    }
}

K_THREAD_DEFINE(elm4_position, MY_STACK_SIZE,
    elm4_position_entry_point, &g_ctx, NULL, NULL,
    MY_PRIORITY, 0, 0);

/* vi: ts=4 sw=4 et */
```

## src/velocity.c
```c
/*
 * Copyright CogniPilot Foundation 2023
 * SPDX-License-Identifier: Apache-2.0
 */

#include "casadi/gen/elm4.h"
#include "math.h"

#include <zephyr/logging/log.h>

#include <zros/private/zros_node_struct.h>
#include <zros/private/zros_pub_struct.h>
#include <zros/private/zros_sub_struct.h>
#include <zros/zros_node.h>
#include <zros/zros_pub.h>
#include <zros/zros_sub.h>

#include <cerebri/core/casadi.h>

#include "mixing.h"

#define MY_STACK_SIZE 3072
#define MY_PRIORITY 4

LOG_MODULE_REGISTER(elm4_velocity, CONFIG_CEREBRI_ELM4_LOG_LEVEL);

typedef struct _context {
    struct zros_node node;
    synapse_msgs_Twist cmd_vel;
    synapse_msgs_Status status;
    synapse_msgs_Actuators actuators;
    synapse_msgs_Actuators actuators_manual;
    struct zros_sub sub_status, sub_cmd_vel, sub_actuators_manual;
    struct zros_pub pub_actuators;
    const double wheel_radius;
    const double wheel_base;
    const double max_velocity;
    const double wheel_separation;
} context;

static context g_ctx = {
    .node = {},
    .cmd_vel = synapse_msgs_Twist_init_default,
    .status = synapse_msgs_Status_init_default,
    .actuators = synapse_msgs_Actuators_init_default,
    .actuators_manual = synapse_msgs_Actuators_init_default,
    .sub_status = {},
    .sub_cmd_vel = {},
    .sub_actuators_manual = {},
    .pub_actuators = {},
    .wheel_radius = CONFIG_CEREBRI_ELM4_WHEEL_RADIUS_MM / 1000.0,
    .wheel_base = CONFIG_CEREBRI_ELM4_WHEEL_BASE_MM / 1000.0,
    .max_velocity = CONFIG_CEREBRI_ELM4_MAX_VELOCITY_MM_S / 1000.0,
    .wheel_separation = CONFIG_CEREBRI_ELM4_WHEEL_SEPARATION_MM / 1000.0,
};

static void init_elm4_vel(context* ctx)
{
    LOG_DBG("init vel");
    zros_node_init(&ctx->node, "elm4_velocity");
    zros_sub_init(&ctx->sub_cmd_vel, &ctx->node, &topic_cmd_vel, &ctx->cmd_vel, 10);
    zros_sub_init(&ctx->sub_status, &ctx->node, &topic_status, &ctx->status, 10);
    zros_sub_init(&ctx->sub_actuators_manual, &ctx->node,
        &topic_actuators_manual, &ctx->actuators_manual, 10);
    zros_pub_init(&ctx->pub_actuators, &ctx->node, &topic_actuators, &ctx->actuators);
}

// computes rc_input from V, omega
void update_cmd_vel(context* ctx)
{
    double V = ctx->cmd_vel.linear.x;
    double omega = ctx->cmd_vel.angular.z;
    double Vw = 0;
    CASADI_FUNC_ARGS(differential_steering);
    args[0] = &ctx->wheel_base;
    args[1] = &omega;
    args[2] = &ctx->wheel_separation;
    res[0] = &Vw;
    CASADI_FUNC_CALL(differential_steering);

    double omega_fwd = V / ctx->wheel_radius;
    double omega_turn = Vw / ctx->wheel_radius;
    elm4_set_actuators(&ctx->actuators, omega_fwd, omega_turn);
}

static void stop(context* ctx)
{
    elm4_set_actuators(&ctx->actuators, 0, 0);
}

static void elm4_velocity_entry_point(void* p0, void* p1, void* p2)
{
    context* ctx = p0;
    ARG_UNUSED(p1);
    ARG_UNUSED(p2);

    init_elm4_vel(ctx);

    while (true) {
        synapse_msgs_Status_Mode mode = ctx->status.mode;

        int rc = 0;
        if (mode == synapse_msgs_Status_Mode_MODE_MANUAL) {
            struct k_poll_event events[] = {
                *zros_sub_get_event(&ctx->sub_actuators_manual),
            };
            rc = k_poll(events, ARRAY_SIZE(events), K_MSEC(1000));
            if (rc != 0) {
                LOG_DBG("not receiving manual actuators");
            }
        } else {
            struct k_poll_event events[] = {
                *zros_sub_get_event(&ctx->sub_cmd_vel),
            };
            rc = k_poll(events, ARRAY_SIZE(events), K_MSEC(1000));
            if (rc != 0) {
                LOG_DBG("not receiving cmd_vel");
            }
        }

        if (zros_sub_update_available(&ctx->sub_status)) {
            zros_sub_update(&ctx->sub_status);
        }

        if (zros_sub_update_available(&ctx->sub_cmd_vel)) {
            zros_sub_update(&ctx->sub_cmd_vel);
        }

        if (zros_sub_update_available(&ctx->sub_actuators_manual)) {
            zros_sub_update(&ctx->sub_actuators_manual);
        }

        // handle modes
        if (rc < 0) {
            stop(ctx);
            LOG_DBG("no data, stopped");
        } else if (ctx->status.arming != synapse_msgs_Status_Arming_ARMING_ARMED) {
            stop(ctx);
            LOG_DBG("not armed, stopped");
        } else if (ctx->status.mode == synapse_msgs_Status_Mode_MODE_MANUAL) {
            LOG_DBG("manual mode");
            ctx->actuators = ctx->actuators_manual;
        } else {
            update_cmd_vel(ctx);
        }

        // publish
        zros_pub_update(&ctx->pub_actuators);
    }
}

K_THREAD_DEFINE(elm4_velocity, MY_STACK_SIZE,
    elm4_velocity_entry_point, &g_ctx, NULL, NULL,
    MY_PRIORITY, 0, 0);

/* vi: ts=4 sw=4 et */
```
